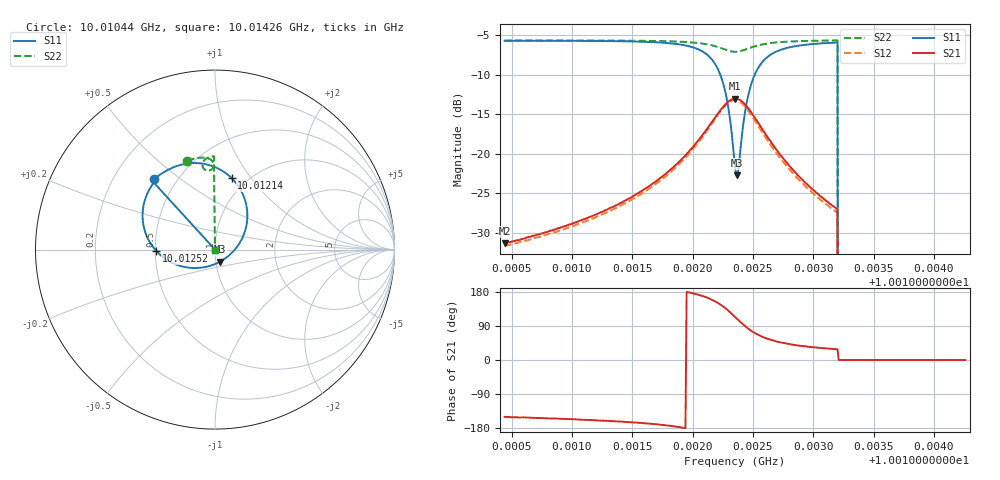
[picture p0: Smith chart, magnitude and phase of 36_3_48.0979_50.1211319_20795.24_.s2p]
#  HZ  S  RI  R  50.00
! Rohde & Schwarz Vector Network Analyzer
! Rohde-Schwarz,ZNB20-2Port,1311601062101988,3.16
! Created: UTC 12/23/2023, 3:38:15 AM
! freq[Hz]  re:S11  im:S11  re:S21  im:S21  re:S12  im:S12  re:S22  im:S22
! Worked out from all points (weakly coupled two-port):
!   401 points, 10.01044 GHz to 10.01426 GHz, reference 50 ohm
!   highest |S21| = -13.03 dB at 10.01235 GHz (marker M1); lowest = -31.3 dB at 10.01044 GHz (marker M2)
!   lowest |S11| = -22.7 dB at 10.01237 GHz (marker M3), VSWR 1.16, Z = 52.3 - j7.14 ohm
!   |S11| at or under -10 dB: 10.01223 GHz to 10.01252 GHz (285.7 kHz wide, 0.00285 % of centre); 10.0132 GHz to end of sweep
!   |S22| runs from - to -5.7 dB; largest |S21 - S12| = 0.01
!   S11 on the Smith chart (normalised r, x): 10.01044 GHz: 0.38, +0.40; 10.01214 GHz: 0.85, +0.81; 10.01252 GHz: 0.51, -0.01; 10.01426 GHz: 1.00, +0.00
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1.0010441e10  -0.3383 0.3921  -0.0236 -0.0136  -0.0219 -0.0142  -0.1536 0.4962
1.0011081e10  -0.2814 0.4339  -0.0353 -0.0145  -0.033 -0.0158  -0.1105 0.5076
1.0011454e10  -0.2284 0.4602  -0.0492 -0.0145  -0.0464 -0.0165  -0.0827 0.5118
1.0011721e10  -0.1648 0.478  -0.0682 -0.0116  -0.0651 -0.0147  -0.0596 0.5124
1.0011998e10  -0.0327 0.4712  -0.1092 0.00701  -0.1062 0.00101  -0.0297 0.5048
1.0012141e10  0.0925 0.3985  -0.1441 0.0472  -0.1428 0.0385  -0.0123 0.4883
1.0012208e10  0.1554 0.3078  -0.1559 0.0874  -0.1573 0.0774  -0.00771 0.4732
1.0012265e10  0.1803 0.1819  -0.1516 0.1353  -0.1541 0.1269  -0.0111 0.4568
1.0012304e10  0.1597 0.0811  -0.1326 0.1705  -0.1373 0.1617  -0.0192 0.4465
1.0012351e10  0.0754 -0.0351  -0.0891 0.2046  -0.0939 0.1973  -0.0355 0.4397
1.0012371e10  0.0268 -0.0679  -0.0681 0.2116  -0.0732 0.2045  -0.0426 0.4399
1.001239e10  -0.0261 -0.09  -0.0469 0.2143  -0.0517 0.2075  -0.0495 0.4416
1.0012447e10  -0.1854 -0.0932  0.0131 0.2  0.00808 0.1934  -0.065 0.4541
1.0012485e10  -0.2688 -0.0568  0.0407 0.1786  0.034 0.173  -0.0693 0.4648
1.0012523e10  -0.3263 -0.00851  0.0571 0.1558  0.0505 0.1508  -0.0701 0.4748
1.0012609e10  -0.3896 0.1  0.0713 0.1106  0.0643 0.1078  -0.064 0.492
1.0012724e10  -0.4032 0.2047  0.068 0.0724  0.0622 0.071  -0.0516 0.5052
1.0012991e10  -0.3699 0.327  0.0498 0.0332  0.0457 0.034  -0.0244 0.5171
1.0013182e10  -0.3429 0.3697  0.0401 0.022  0.0371 0.0227  -0.00772 0.5202
1.001323e10  0 0  0 0  0 0  0 0
1.0013631e10  0 0  0 0  0 0  0 0
1.0014262e10  0 0  0 0  0 0  0 0
